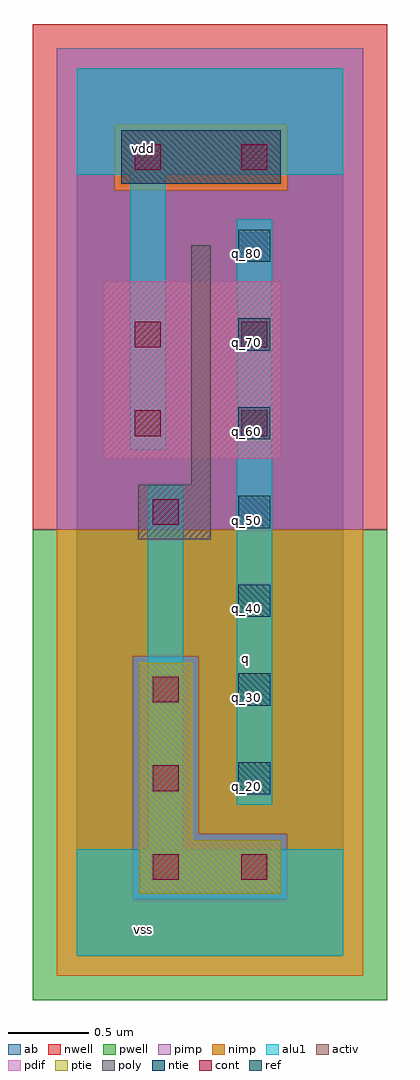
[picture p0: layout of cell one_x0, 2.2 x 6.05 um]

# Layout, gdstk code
import gdstk
lib = gdstk.Library(unit=1e-6, precision=2.5e-09)
def R(c, l, rs):  # rectangles x0, y0, x1, y1
    for r in rs: c.add(gdstk.rectangle(r[:2], r[2:], *l))
def A(c, l, x, y, w, h, nx, ny, dx, dy):  # array of equal rectangles
    R(c, l, [(x+i*dx, y+j*dy, x+i*dx+w, y+j*dy+h) for i in range(nx) for j in range(ny)])
pdif = (4, 0)
ntie = (5, 0)
ptie = (6, 0)
ref = (24, 0)
cont = (25, 0)
pwell = (41, 0)
nwell = (42, 0)
activ = (43, 0)
pimp = (44, 0)
nimp = (45, 0)
poly = (46, 0)
alu1 = (49, 0)
ab = (63, 0)

one_x0 = lib.new_cell('one_x0')
R(one_x0, pdif, [(0.165,3.08,1.265,4.18)])
R(one_x0, ntie, [(0.275,4.785,1.265,5.115)])
R(one_x0, ptie, [(0.385,0.385,1.265,0.715), (0.385,0.715,0.715,1.815)])
A(one_x0, ref, 1, 1, 0.2, 0.2, 1, 7, 0, 0.55)
A(one_x0, cont, 0.47, 0.47, 0.16, 0.16, 1, 3, 0, 0.55)
R(one_x0, cont, [(1.02,0.47,1.18,0.63), (0.47,2.67,0.63,2.83), (0.36,3.22,0.52,3.38), (1.02,3.22,1.18,3.38), (0.36,3.77,0.52,3.93), (1.02,3.77,1.18,3.93), (0.36,4.87,0.52,5.03), (1.02,4.87,1.18,5.03)])
R(one_x0, pwell, [(-0.275,-0.275,1.925,2.64)])
R(one_x0, nwell, [(-0.275,2.64,1.925,5.775)])
R(one_x0, activ, [(0.385,0.385,1.265,0.715), (0.385,0.715,0.715,1.815), (0.165,3.08,1.265,4.18), (0.275,4.785,1.265,5.115)])
R(one_x0, pimp, [(0.345,0.345,1.305,0.755), (0.345,0.755,0.755,1.855), (-0.125,2.64,1.775,4.745), (-0.125,4.745,0.235,5.155), (1.305,4.745,1.775,5.155), (-0.125,5.155,1.775,5.625)])
R(one_x0, nimp, [(-0.125,-0.125,1.775,0.345), (-0.125,0.345,0.345,1.855), (1.305,0.345,1.775,0.755), (0.755,0.755,1.775,1.855), (-0.125,1.855,1.775,2.64), (0.235,4.745,1.305,5.155)])
R(one_x0, poly, [(0.38,2.58,0.83,2.92), (0.71,2.92,0.83,4.405)])
R(one_x0, alu1, [(0,0,1.65,0.66), (0.44,0.66,0.66,2.915), (0.99,0.935,1.21,4.565), (0.33,3.135,0.55,4.84), (0,4.84,1.65,5.5)])
R(one_x0, ab, [(0,0,1.65,5.5)])
one_x0.add(gdstk.Label('vss', (0.4125,0.165), layer=49, texttype=0))
one_x0.add(gdstk.Label('q', (1.045,1.8425), layer=49, texttype=0))
one_x0.add(gdstk.Label('vdd', (0.4125,5.005), layer=49, texttype=0))
one_x0.add(gdstk.Label('q_80', (1.05,4.35), layer=24, texttype=0))
one_x0.add(gdstk.Label('q_70', (1.05,3.8), layer=24, texttype=0))
one_x0.add(gdstk.Label('q_60', (1.05,3.25), layer=24, texttype=0))
one_x0.add(gdstk.Label('q_50', (1.05,2.7), layer=24, texttype=0))
one_x0.add(gdstk.Label('q_40', (1.05,2.15), layer=24, texttype=0))
one_x0.add(gdstk.Label('q_30', (1.05,1.6), layer=24, texttype=0))
one_x0.add(gdstk.Label('q_20', (1.05,1.05), layer=24, texttype=0))

lib.write_gds('one_x0.gds')
